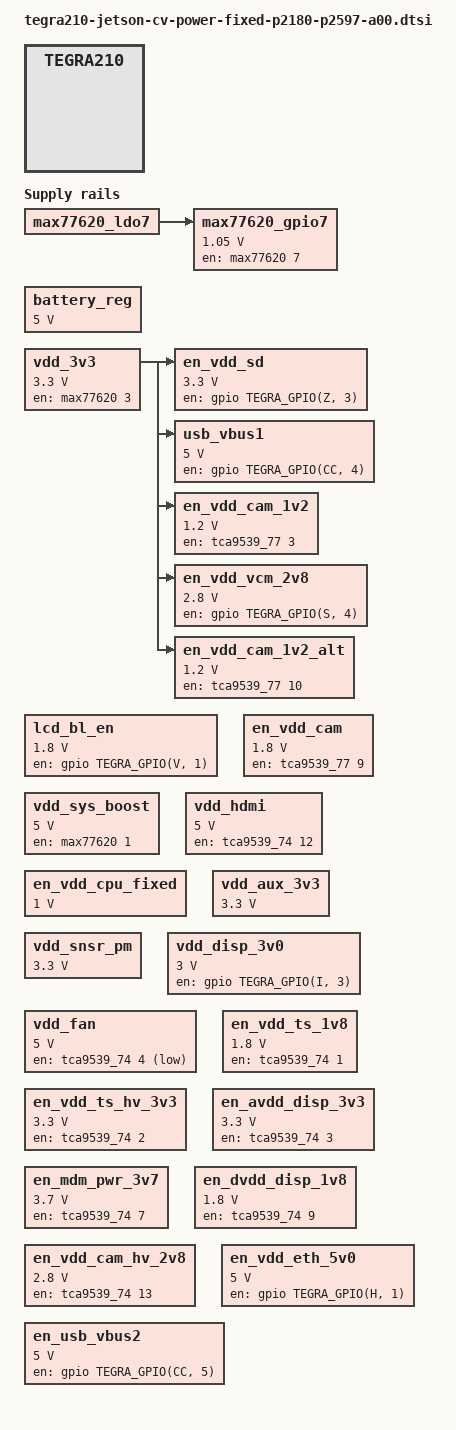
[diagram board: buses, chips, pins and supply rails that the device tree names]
/*
 * Copyright (c) 2014-2017, NVIDIA CORPORATION.  All rights reserved.
 *
 * This program is free software; you can redistribute it and/or modify
 * it under the terms of the GNU General Public License as published by
 * the Free Software Foundation; either version 2 of the License, or
 * (at your option) any later version.
 *
 * This program is distributed in the hope that it will be useful, but WITHOUT
 * ANY WARRANTY; without even the implied warranty of MERCHANTABILITY or
 * FITNESS FOR A PARTICULAR PURPOSE.  See the GNU General Public License for
 * more details.
 */

#include <dt-bindings/gpio/tegra-gpio.h>

/ {
	regulators {
		compatible = "simple-bus";
		device_type = "fixed-regulators";
		#address-cells = <1>;
		#size-cells = <0>;

		battery_reg: regulator@0 {
			compatible = "regulator-fixed";
			reg = <0>;
			regulator-name = "vdd-ac-bat";
			regulator-min-microvolt = <5000000>;
			regulator-max-microvolt = <5000000>;
			regulator-always-on;
		};

		vdd_3v3: regulator@1 {
			compatible = "regulator-fixed-sync";
			reg = <1>;
			regulator-name = "vdd-3v3";
			regulator-min-microvolt = <3300000>;
			regulator-max-microvolt = <3300000>;
			regulator-always-on;
			gpio = <&max77620 3 0>;
			enable-active-high;
		};

		max77620_gpio7: regulator@2 {
			compatible = "regulator-fixed-sync";
			reg = <2>;
			regulator-name = "max77620-gpio7";
			regulator-min-microvolt = <1050000>;
			regulator-max-microvolt = <1050000>;
			regulator-boot-on;
			gpio = <&max77620 7 0>;
			enable-active-high;
			vin-supply = <&max77620_ldo7>;
		};

		lcd_bl_en: regulator@3 {
			compatible = "regulator-fixed-sync";
			reg = <3>;
			regulator-name = "lcd-bl-en";
			regulator-min-microvolt = <1800000>;
			regulator-max-microvolt = <1800000>;
			regulator-boot-on;
			gpio = <&gpio TEGRA_GPIO(V, 1) 0>;
			enable-active-high;
		};

		en_vdd_sd: regulator@4 {
			compatible = "regulator-fixed-sync";
			reg = <4>;
			regulator-name = "en-vdd-sd";
			regulator-min-microvolt = <3300000>;
			regulator-max-microvolt = <3300000>;
			gpio = <&gpio TEGRA_GPIO(Z, 3) 0>;
			enable-active-high;
			vin-supply = <&vdd_3v3>;
		};

		en_vdd_cam: regulator@5 {
			compatible = "regulator-fixed-sync";
			reg = <5>;
			regulator-name = "en-vdd-cam";
			regulator-min-microvolt = <1800000>;
			regulator-max-microvolt = <1800000>;
			gpio = <&tca9539_77 9 1>;
			enable-active-high;
		};

		vdd_sys_boost: regulator@6 {
			compatible = "regulator-fixed-sync";
			reg = <6>;
			regulator-name = "vdd-sys-boost";
			regulator-min-microvolt = <5000000>;
			regulator-max-microvolt = <5000000>;
			regulator-always-on;
			gpio = <&max77620 1 0>;
			enable-active-high;
		};

		vdd_hdmi: regulator@7 {
			compatible = "regulator-fixed-sync";
			reg = <7>;
			regulator-name = "vdd-hdmi";
			regulator-min-microvolt = <5000000>;
			regulator-max-microvolt = <5000000>;
			gpio = <&tca9539_74 12 1>;
			enable-active-high;
		};

		en_vdd_cpu_fixed: regulator@8 {
			compatible = "regulator-fixed";
			reg = <8>;
			regulator-name = "vdd-cpu-fixed";
			regulator-min-microvolt = <1000000>;
			regulator-max-microvolt = <1000000>;
		};

		vdd_aux_3v3: regulator@9 {
			compatible = "regulator-fixed-sync";
			reg = <9>;
			regulator-name = "aux-3v3";
			regulator-min-microvolt = <3300000>;
			regulator-max-microvolt = <3300000>;
		};

		vdd_snsr_pm: regulator@10 {
			compatible = "regulator-fixed-sync";
			reg = <10>;
			regulator-name = "snsr_pm";
			enable-active-high;
			regulator-min-microvolt = <3300000>;
			regulator-max-microvolt = <3300000>;
		};

		vdd_usb_5v0: regulator@11 {
			compatible = "regulator-fixed-sync";
			reg = <11>;
			status = "disabled";
			regulator-name = "vdd-usb-5v0";
			regulator-min-microvolt = <5000000>;
			regulator-max-microvolt = <5000000>;
			vin-supply = <&vdd_3v3>;
			regulator-always-on;
			enable-active-high;
		};

		vdd_cdc_1v2_aud: regulator@101 {
			compatible = "regulator-fixed-sync";
			reg = <101>;
			status = "disabled";
			regulator-name = "vdd_cdc_1v2_aud";
			regulator-min-microvolt = <1200000>;
			regulator-max-microvolt = <1200000>;
			enable-active-high;
			startup-delay-us = <250000>;
		};
		vdd_disp_3v0: regulator@12 {
			compatible = "regulator-fixed-sync";
			reg = <12>;
			regulator-name = "vdd-disp-3v0";
			regulator-min-microvolt = <3000000>;
			regulator-max-microvolt = <3000000>;
			gpio = <&gpio TEGRA_GPIO(I, 3) 0>;
			regulator-boot-on;
			enable-active-high;
			regulator-enable-ramp-delay = <232>;
		};

		vdd_fan: regulator@13 {
			compatible = "regulator-fixed-sync";
			reg = <13>;
			regulator-name = "vdd-fan";
			regulator-min-microvolt = <5000000>;
			regulator-max-microvolt = <5000000>;
			gpio = <&tca9539_74 4 0>;
			regulator-enable-ramp-delay = <284>;
			regulator-disable-ramp-delay = <6200>;
		};

		usb_vbus1: regulator@14 {
			compatible = "regulator-fixed-sync";
			reg = <14>;
			regulator-name = "usb-vbus1";
			regulator-min-microvolt = <5000000>;
			regulator-max-microvolt = <5000000>;
			gpio = <&gpio TEGRA_GPIO(CC, 4) 0>;
			enable-active-high;
			gpio-open-drain;
			vin-supply = <&vdd_3v3>;
		};

		en_vdd_ts_1v8: regulator@201 {
			compatible = "regulator-fixed-sync";
			reg = <201>;
			regulator-name = "en-vdd-ts-1v8";
			regulator-min-microvolt = <1800000>;
			regulator-max-microvolt = <1800000>;
			gpio = <&tca9539_74 1 1>;
			enable-active-high;
		};

		en_vdd_ts_hv_3v3: regulator@202 {
			compatible = "regulator-fixed-sync";
			reg = <202>;
			regulator-name = "en-vdd-ts-hv-3v3";
			regulator-min-microvolt = <3300000>;
			regulator-max-microvolt = <3300000>;
			gpio = <&tca9539_74 2 1>;
			enable-active-high;
		};

		en_avdd_disp_3v3: regulator@203 {
			compatible = "regulator-fixed-sync";
			reg = <203>;
			regulator-name = "en-vdd-disp-3v3";
			regulator-min-microvolt = <3300000>;
			regulator-max-microvolt = <3300000>;
			regulator-boot-on;
			gpio = <&tca9539_74 3 1>;
			enable-active-high;
		};

		en_mdm_pwr_3v7: regulator@204 {
			compatible = "regulator-fixed-sync";
			reg = <204>;
			regulator-name = "en-mdm-pwr-3v7";
			regulator-min-microvolt = <3700000>;
			regulator-max-microvolt = <3700000>;
			gpio = <&tca9539_74 7 1>;
			enable-active-high;
		};

		en_dvdd_disp_1v8: regulator@205 {
			compatible = "regulator-fixed-sync";
			reg = <205>;
			regulator-name = "en-vdd-disp-1v8";
			regulator-min-microvolt = <1800000>;
			regulator-max-microvolt = <1800000>;
			regulator-boot-on;
			gpio = <&tca9539_74 9 1>;
			enable-active-high;
		};

		en_vdd_cam_hv_2v8: regulator@206 {
			compatible = "regulator-fixed-sync";
			reg = <206>;
			regulator-name = "en-vdd-cam-hv-2v8";
			regulator-min-microvolt = <2800000>;
			regulator-max-microvolt = <2800000>;
			gpio = <&tca9539_74 13 1>;
			enable-active-high;
		};

		en_vdd_eth_5v0: regulator@207 {
			compatible = "regulator-fixed-sync";
			reg = <207>;
			regulator-name = "rtl-5v0";
			regulator-min-microvolt = <5000000>;
			regulator-max-microvolt = <5000000>;
			gpio = <&gpio TEGRA_GPIO(H, 1) 0>;
			enable-active-high;
		};

		en_usb_vbus2: regulator@208 {
			compatible = "regulator-fixed-sync";
			reg = <208>;
			regulator-name = "en-usb-vbus2";
			regulator-min-microvolt = <5000000>;
			regulator-max-microvolt = <5000000>;
			gpio = <&gpio TEGRA_GPIO(CC, 5) 0>;
			gpio-open-drain;
			enable-active-high;
		};

		en_vdd_cam_1v2: regulator@209 {
			compatible = "regulator-fixed-sync";
			reg = <209>;
			regulator-name = "en-vdd-cam-1v2";
			regulator-min-microvolt = <1200000>;
			regulator-max-microvolt = <1200000>;
			vin-supply = <&vdd_3v3>;
			gpio = <&tca9539_77 3 1>;
			enable-active-high;
		};

		en_vdd_vcm_2v8: regulator@210 {
			compatible = "regulator-fixed-sync";
			reg = <210>;
			regulator-name = "en-vdd-vcm-2v8";
			regulator-min-microvolt = <2800000>;
			regulator-max-microvolt = <2800000>;
			vin-supply = <&vdd_3v3>;
			gpio = <&gpio TEGRA_GPIO(S, 4) 0>;
			enable-active-high;
		};

		en_vdd_cam_1v2_alt: regulator@211 {
			compatible = "regulator-fixed-sync";
			reg = <211>;
			regulator-name = "en-vdd-cam-1v2-alt";
			regulator-min-microvolt = <1200000>;
			regulator-max-microvolt = <1200000>;
			vin-supply = <&vdd_3v3>;
			gpio = <&tca9539_77 10 1>;
			enable-active-high;
		};
	};
};
